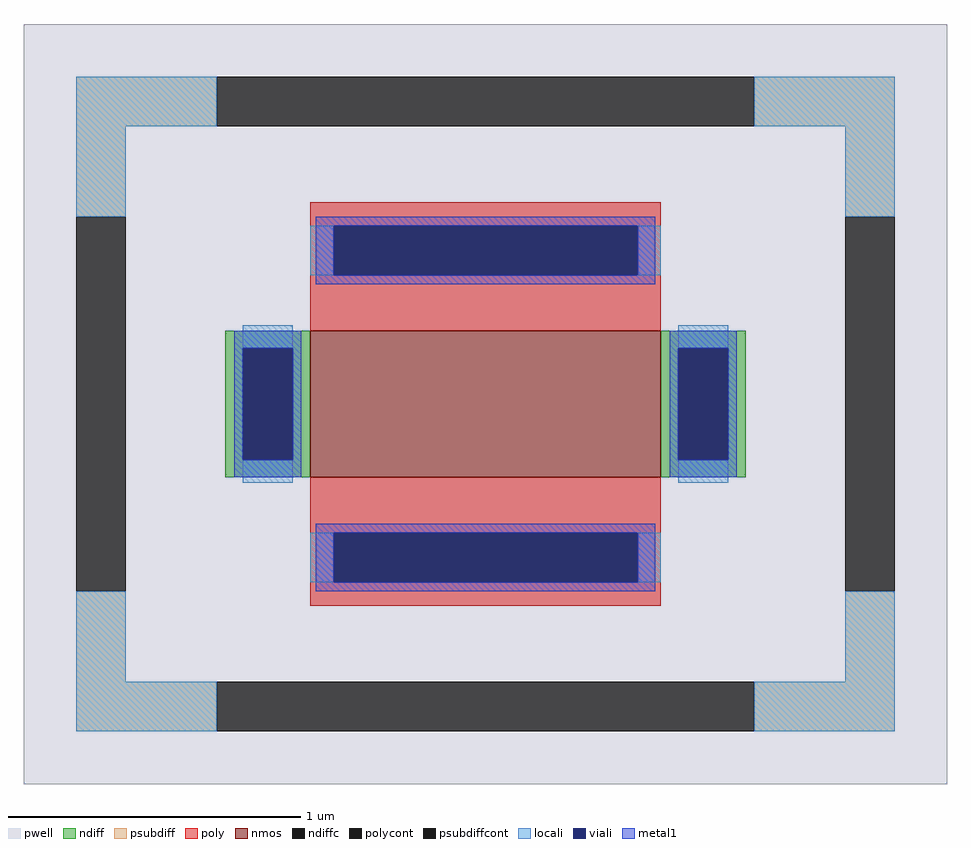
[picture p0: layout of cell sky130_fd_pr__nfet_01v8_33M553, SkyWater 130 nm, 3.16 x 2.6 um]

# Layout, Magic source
magic
tech sky130A
<< pwell >>
rect -158 -130 158 130
<< nmos >>
rect -60 -25 60 25
<< ndiff >>
rect -89 19 -60 25
rect -89 -19 -83 19
rect -66 -19 -60 19
rect -89 -25 -60 -19
rect 60 19 89 25
rect 60 -19 66 19
rect 83 -19 89 19
rect 60 -25 89 -19
<< ndiffc >>
rect -83 -19 -66 19
rect 66 -19 83 19
<< psubdiff >>
rect -140 95 -92 112
rect 92 95 140 112
rect -140 64 -123 95
rect 123 64 140 95
rect -140 -95 -123 -64
rect 123 -95 140 -64
rect -140 -112 -92 -95
rect 92 -112 140 -95
<< psubdiffcont >>
rect -92 95 92 112
rect -140 -64 -123 64
rect 123 -64 140 64
rect -92 -112 92 -95
<< poly >>
rect -60 61 60 69
rect -60 44 -52 61
rect 52 44 60 61
rect -60 25 60 44
rect -60 -44 60 -25
rect -60 -61 -52 -44
rect 52 -61 60 -44
rect -60 -69 60 -61
<< polycont >>
rect -52 44 52 61
rect -52 -61 52 -44
<< locali >>
rect -140 95 -92 112
rect 92 95 140 112
rect -140 64 -123 95
rect 123 64 140 95
rect -60 44 -52 61
rect 52 44 60 61
rect -83 19 -66 27
rect -83 -27 -66 -19
rect 66 19 83 27
rect 66 -27 83 -19
rect -60 -61 -52 -44
rect 52 -61 60 -44
rect -140 -95 -123 -64
rect 123 -95 140 -64
rect -140 -112 -92 -95
rect 92 -112 140 -95
<< viali >>
rect -52 44 52 61
rect -83 -19 -66 19
rect 66 -19 83 19
rect -52 -61 52 -44
<< metal1 >>
rect -58 61 58 64
rect -58 44 -52 61
rect 52 44 58 61
rect -58 41 58 44
rect -86 19 -63 25
rect -86 -19 -83 19
rect -66 -19 -63 19
rect -86 -25 -63 -19
rect 63 19 86 25
rect 63 -19 66 19
rect 83 -19 86 19
rect 63 -25 86 -19
rect -58 -44 58 -41
rect -58 -61 -52 -44
rect 52 -61 58 -44
rect -58 -64 58 -61
<< properties >>
string FIXED_BBOX -131 -103 131 103
string gencell sky130_fd_pr__nfet_01v8
string library sky130
string parameters w 0.5 l 1.2 m 1 nf 1 diffcov 100 polycov 100 guard 1 glc 1 grc 1 gtc 1 gbc 1 tbcov 100 rlcov 100 topc 1 botc 1 poverlap 0 doverlap 1 lmin 0.15 wmin 0.42 class mosfet compatible {sky130_fd_pr__nfet_01v8 sky130_fd_pr__nfet_01v8_lvt  sky130_fd_bs_flash__special_sonosfet_star  sky130_fd_pr__nfet_g5v0d10v5 sky130_fd_pr__nfet_05v0_nvt  sky130_fd_pr__nfet_03v3_nvt} full_metal 1 viasrc 100 viadrn 100 viagate 100 viagb 0 viagr 0 viagl 0 viagt 0
<< end >>
